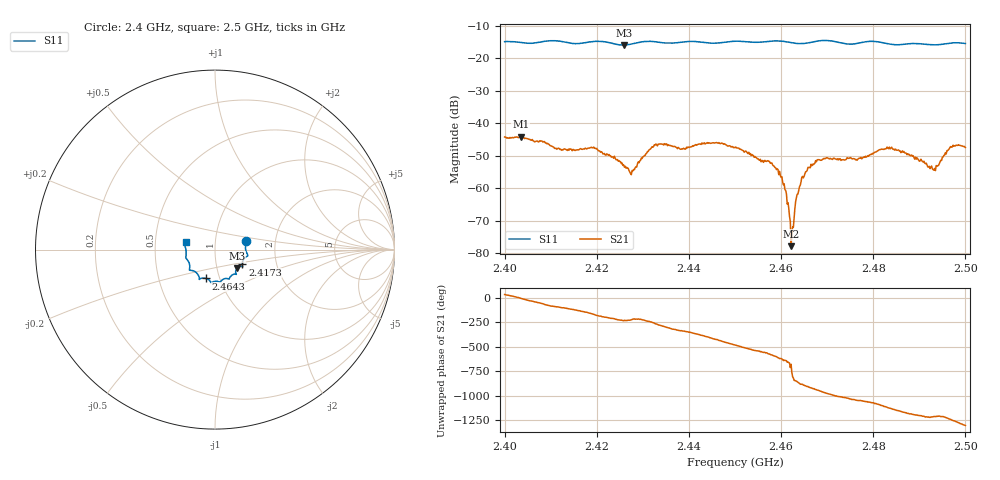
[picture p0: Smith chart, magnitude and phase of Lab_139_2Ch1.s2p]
# Hz S RI R 50
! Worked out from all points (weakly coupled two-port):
!   601 points, 2.4 GHz to 2.5 GHz, reference 50 ohm
!   highest |S21| = -44.15 dB at 2.4035 GHz (marker M1); lowest = -77.8 dB at 2.4622 GHz (marker M2)
!   lowest |S11| = -15.9 dB at 2.4258 GHz (marker M3), VSWR 1.38, Z = 62.2 - j13.2 ohm
!   |S11| at or under -10 dB: start of sweep to end of sweep
!   S12 and S22 are empty: the file has one direction only
!   S11 on the Smith chart (normalised r, x): 2.4 GHz: 1.41, +0.14; 2.4173 GHz: 1.34, -0.23; 2.4643 GHz: 0.86, -0.28; 2.5 GHz: 0.72, +0.06
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2.4e9  0.1734 0.0495  0.00526 0.00318  0 0  0 0
2.4035e9  0.1725 0.0299  0.00615 -0.000796  0 0  0 0
2.411833e9  0.1805 -0.036  -0.00044 -0.00407  0 0  0 0
2.416667e9  0.1529 -0.075  -0.00303 -0.0026  0 0  0 0
2.417333e9  0.1522 -0.0825  -0.00333 -0.00223  0 0  0 0
2.419667e9  0.1542 -0.0971  -0.00412 -0.000265  0 0  0 0
2.425833e9  0.1213 -0.1037  -0.00127 0.00189  0 0  0 0
2.427667e9  0.1151 -0.1207  -0.00137 0.00128  0 0  0 0
2.433333e9  0.1126 -0.1366  0.000489 0.00476  0 0  0 0
2.45e9  0.0297 -0.1809  -0.00234 -0.00349  0 0  0 0
2.459167e9  -0.022 -0.184  -0.000763 0.00184  0 0  0 0
2.460667e9  -0.0248 -0.1798  0.000144 0.00116  0 0  0 0
2.462167e9  -0.0305 -0.1712  9.71e-05 8.39e-05  0 0  0 0
2.462667e9  -0.0335 -0.1685  -3.87e-05 -0.000247  0 0  0 0
2.4635e9  -0.0409 -0.1638  -0.000599 -0.000544  0 0  0 0
2.464333e9  -0.0501 -0.1604  -0.0012 -0.000363  0 0  0 0
2.466667e9  -0.0762 -0.1596  -0.00205 0.00086  0 0  0 0
2.476667e9  -0.1232 -0.1174  0.00239 0.00148  0 0  0 0
2.483333e9  -0.1406 -0.0896  0.00296 -0.00277  0 0  0 0
2.493e9  -0.1606 -0.0139  -0.00136 -0.00138  0 0  0 0
2.496833e9  -0.1698 0.0253  -0.00416 -0.00139  0 0  0 0
2.5e9  -0.1635 0.0419  -0.0031 0.00288  0 0  0 0
